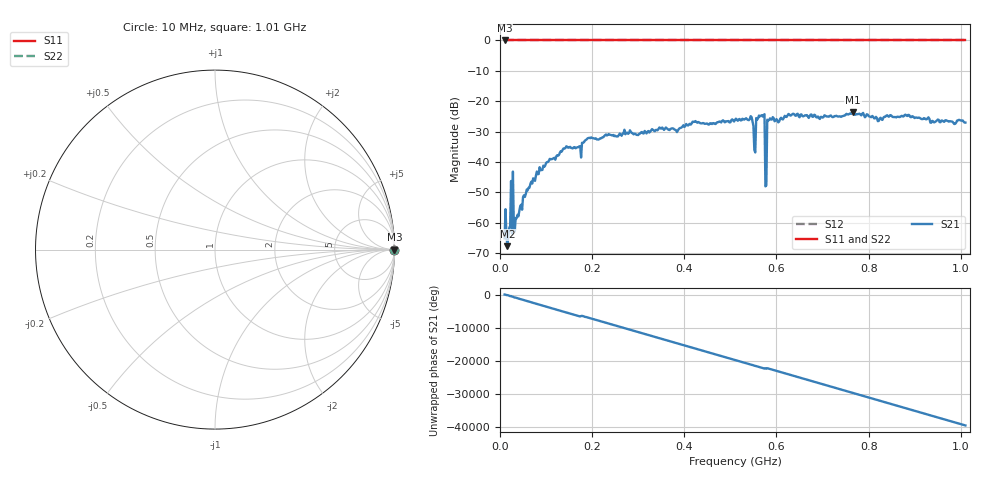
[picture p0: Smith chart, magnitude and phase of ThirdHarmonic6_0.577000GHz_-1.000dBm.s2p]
! 8/15/2025 6:36:39 PM
! C:\ANRITSUVNA\TEMP\TEMP.S2P
! CHANNEL.1
! TR.MEASUREMENT
! RAW.DATA
! RF.CORRECTION.OFF
! AVERAGING.OFF
! IF.BANDWIDTH: 5KHZ
! SWEEPTYPE:  FREQ.SWEEP(Linear)
! Reference Plane Port Info
! PORT:  PORT1  PORT2
! DISTANCE:  0  m  0  m
! TIME:  0  s  0  s
! PHASE.OFFSET:  0  deg.  0  deg.
! LOSS:  0  dB  0  dB
! REF.LOSS:  0  dB  0  dB
! REF.FREQ:  0  Hz  0  Hz
! Power Info
! POWER:  -20  dBm  -20  dBm
! EFF.POWER:  -20  dBm  -20  dBm
! SOURCE.ATTEN:  0  dB  0  dB
! TEST.ATTEN:  0  dB  0  dB
# GHZ S RI R 50.0
! FREQ.GHZ  S11RE  S11IM  S21RE  S21IM  S12RE  S12IM  S22RE  S22IM
!; PortSelection: Port_12
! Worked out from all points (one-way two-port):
!   501 points, 10 MHz to 1.01 GHz, reference 50 ohm
!   highest |S21| = -23.69 dB at 766 MHz (marker M1); lowest = -67.7 dB at 16 MHz (marker M2)
!   lowest |S11| = 0.0 dB at 10 MHz (marker M3)
!   |S11| at or under -10 dB: nowhere
!   |S22| runs from 0.0 to 0.0 dB; largest |S21 - S12| = 1.1
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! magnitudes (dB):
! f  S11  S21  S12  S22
! 10 MHz  0.0  -65.1  0.0  0.0
! 16 MHz  0.0  -67.7  0.0  0.0
! 18 MHz  0.0  -64.4  0.0  0.0
! 24 MHz  0.0  -46.2  0.0  0.0
! 34 MHz  0.0  -58.4  0.0  0.0
! 54 MHz  0.0  -51.5  0.0  0.0
! 84 MHz  0.0  -43.9  0.0  0.0
! 142 MHz  0.0  -35.4  0.0  0.0
! 178 MHz  0.0  -33.7  0.0  0.0
! 344 MHz  0.0  -29.1  0.0  0.0
! 510 MHz  0.0  -26.1  0.0  0.0
! 544 MHz  0.0  -24.9  0.0  0.0
! 552 MHz  0.0  -36.1  0.0  0.0
! 560 MHz  0.0  -25.6  0.0  0.0
! 570 MHz  0.0  -25.0  0.0  0.0
! 574 MHz  0.0  -24.3  0.0  0.0
! 580 MHz  0.0  -26.1  0.0  0.0
! 584 MHz  0.0  -26.2  0.0  0.0
! 678 MHz  0.0  -25.1  0.0  0.0
! 766 MHz  0.0  -23.7  0.0  0.0
! 844 MHz  0.0  -25.1  0.0  0.0
! 1.01 GHz  0.0  -27.0  0.0  0.0
